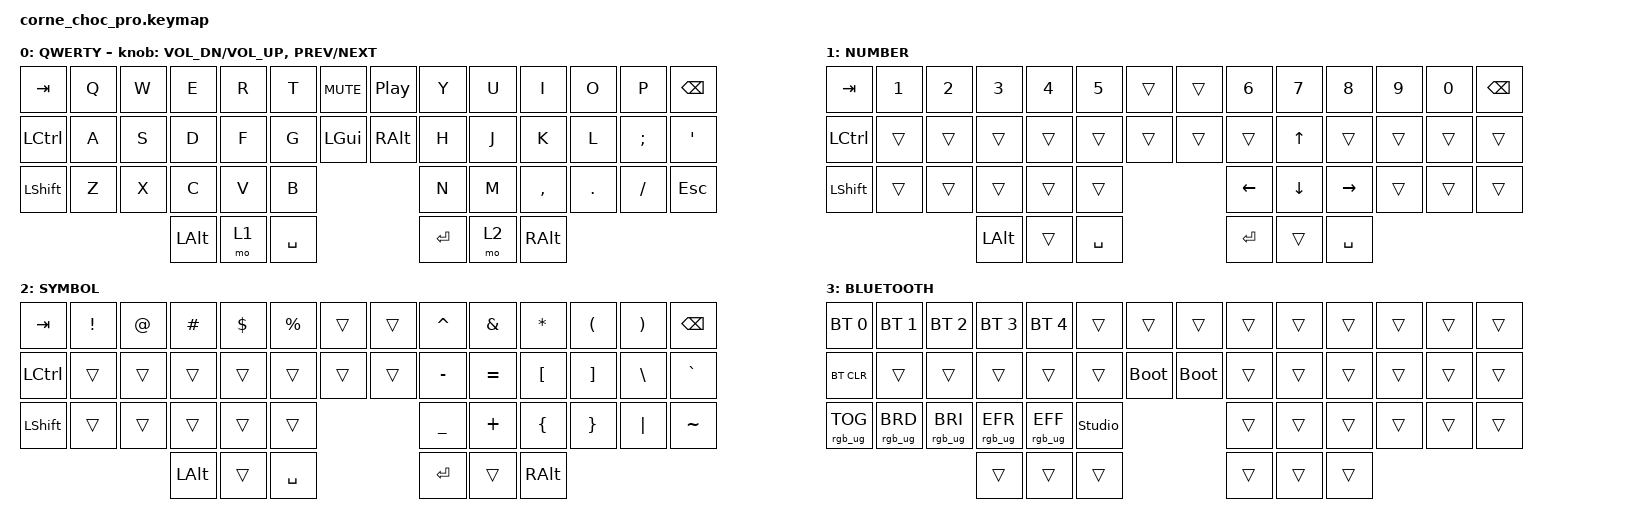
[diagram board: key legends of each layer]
/*
 * Copyright (c) 2020 The ZMK Contributors
 *
 * SPDX-License-Identifier: MIT
 */

#include <behaviors.dtsi>
#include <dt-bindings/zmk/bt.h>
#include <dt-bindings/zmk/keys.h>
#include <dt-bindings/zmk/rgb.h>

/ {
    chosen { zmk,physical-layout = &default_layout; };
};

/ {
    keymap {
        compatible = "zmk,keymap";

        default_layer {
            display-name = "QWERTY";

            // --------------------------------------------------------------------------------
            // |  TAB |  Q  |  W  |  E  |  R  |  T  |  MUTE |  PP   |  Y  |  U   |  I  |  O  |  P  | BSPC |
            // | CTRL |  A  |  S  |  D  |  F  |  G  |  LALT |  RALT |  H  |  J   |  K  |  L  |  ;  |  '   |
            // | SHFT |  Z  |  X  |  C  |  V  |  B  |               |  N  |  M   |  ,  |  .  |  /  | ESC  |
            //                    | GUI | LWR | SPC |               | ENT | RSE  | ALT |

            bindings = <
&kp TAB    &kp Q  &kp W  &kp E     &kp R  &kp T      &kp C_MUTE  &kp C_PP  &kp Y    &kp U  &kp I      &kp O    &kp P     &kp BSPC
&kp LCTRL  &kp A  &kp S  &kp D     &kp F  &kp G      &kp LGUI    &kp RALT  &kp H    &kp J  &kp K      &kp L    &kp SEMI  &kp SQT
&kp LSHFT  &kp Z  &kp X  &kp C     &kp V  &kp B                            &kp N    &kp M  &kp COMMA  &kp DOT  &kp FSLH  &kp ESC
                         &kp LALT  &mo 1  &kp SPACE                        &kp RET  &mo 2  &kp RALT
            >;

            sensor-bindings = <&inc_dec_kp C_VOL_DN C_VOL_UP &inc_dec_kp C_PREV C_NEXT>;
        };

        lower_layer {
            display-name = "NUMBER";

            // -----------------------------------------------------------------------------------------
            // |  TAB |  1  |  2  |  3  |  4  |  5    |  LCTRL | RCTRL |  6  |  7  |  8  |  9  |  0  | BSPC |
            // | CTRL | BT1 | BT2 | BT3 | BT4 | BT5   |  LALT  | RALT  | LFT | DWN |  UP | RGT |     |      |
            // | SHFT | BTCR| RGB | RST | BOOT| Unlock|        |       |     |     |     |     |     |      |
            //                    | GUI |     | SPC   |        | ENT   |     | ALT |

            bindings = <
&kp TAB    &kp N1  &kp N2  &kp N3    &kp N4  &kp N5     &trans  &trans  &kp N6    &kp N7    &kp N8     &kp N9  &kp N0  &kp BSPC
&kp LCTRL  &trans  &trans  &trans    &trans  &trans     &trans  &trans  &trans    &kp UP    &trans     &trans  &trans  &trans
&kp LSHFT  &trans  &trans  &trans    &trans  &trans                     &kp LEFT  &kp DOWN  &kp RIGHT  &trans  &trans  &trans
                           &kp LALT  &trans  &kp SPACE                  &kp RET   &trans    &kp SPACE
            >;
        };

        raise_layer {
            display-name = "SYMBOL";

            // -----------------------------------------------------------------------------------------
            // |  TAB |  !  |  @  |  #  |  $  |  %  | LCTRL | RCTRL |  ^  |  &  |  *  |  (  |  )  | BSPC |
            // | CTRL |     |     |     |     |     |  LALT | RALT  |  -  |  =  |  [  |  ]  |  \  |  `   |
            // | SHFT |     |     |     |     |     |               |  _  |  +  |  {  |  }  | "|" |  ~   |
            //                    | GUI |     | SPC |               | ENT |     | ALT |

            bindings = <
&kp TAB    &kp EXCL  &kp AT  &kp HASH  &kp DLLR  &kp PRCNT  &trans  &trans  &kp CARET  &kp AMPS   &kp ASTRK  &kp LPAR  &kp RPAR  &kp BSPC
&kp LCTRL  &trans    &trans  &trans    &trans    &trans     &trans  &trans  &kp MINUS  &kp EQUAL  &kp LBKT   &kp RBKT  &kp BSLH  &kp GRAVE
&kp LSHFT  &trans    &trans  &trans    &trans    &trans                     &kp UNDER  &kp PLUS   &kp LBRC   &kp RBRC  &kp PIPE  &kp TILDE
                             &kp LALT  &trans    &kp SPACE                  &kp RET    &trans     &kp RALT
            >;
        };

        adjust_layer {
            bindings = <
&bt BT_SEL 0     &bt BT_SEL 1     &bt BT_SEL 2     &bt BT_SEL 3     &bt BT_SEL 4     &trans          &trans       &trans       &trans  &trans  &trans  &trans  &trans  &trans
&bt BT_CLR       &trans           &trans           &trans           &trans           &trans          &bootloader  &bootloader  &trans  &trans  &trans  &trans  &trans  &trans
&rgb_ug RGB_TOG  &rgb_ug RGB_BRD  &rgb_ug RGB_BRI  &rgb_ug RGB_EFR  &rgb_ug RGB_EFF  &studio_unlock                            &trans  &trans  &trans  &trans  &trans  &trans
                                                   &trans           &trans           &trans                                    &trans  &trans  &trans
            >;

            label = "BLUETOOTH";
        };
    };

    conditional_layers {
        compatible = "zmk,conditional-layers";

        both {
            if-layers = <1 2>;
            then-layer = <3>;
        };
    };
};
